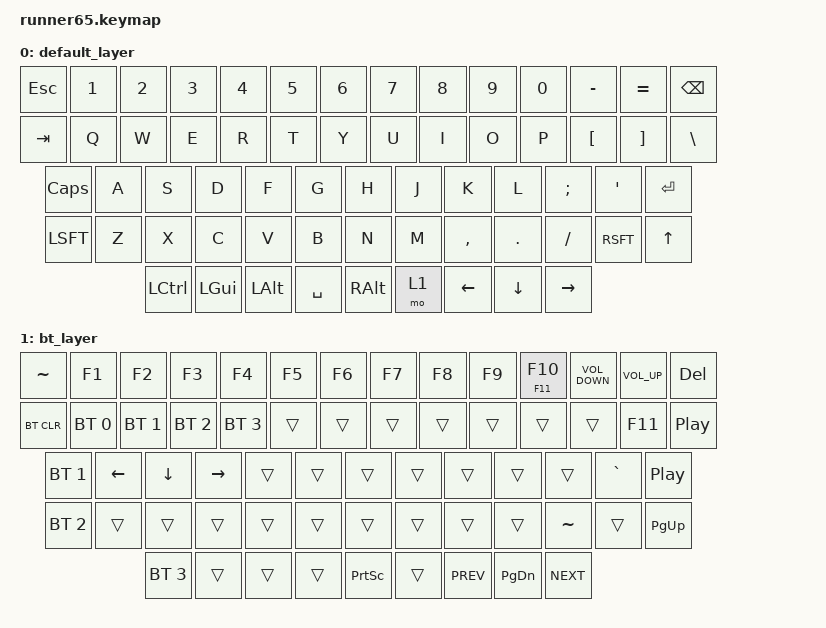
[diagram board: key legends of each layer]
/*
 * Copyright (c) 2021 Nick Winans
 *
 * SPDX-License-Identifier: MIT
 */

#include <behaviors.dtsi>
#include <dt-bindings/zmk/keys.h>
#include <dt-bindings/zmk/rgb.h>
#include <dt-bindings/zmk/bt.h>

/ {
	keymap {
		compatible = "zmk,keymap";
		
		default_layer {
// -------------------------------------------------------------------------------------------------
// | ESC |  1  |  2  |  3  |  4  |  5  |  6  |  7  |  8  |  9  |  0  |  -  |  =  |   BKSP    |      |
// | TAB  |  Q  |  W  |  E  |  R  |  T  |  Y  |  U  |  I  |  O  |  P  |  [  |  ]  |    \     |      |
// | CAPS  |  A  |  S  |  D  |  F  |  G  |  H  |  J  |  K  |  L  |  ;  |  '  |     ENTER     |      |
// |  SHIFT  |  Z  |  X  |  C  |  V  |  B  |  N  |  M  |  ,  |  .  |  /  |    SHIFT   |  UP  |      |
// |  CTL  |  WIN  |  ALT  |  SPACE                       | ALT | MO(1) | CTRL | LEFT | DOWN | RIGHT|
// -------------------------------------------------------------------------------------------------
			bindings = <
	&kp ESC &kp NUM_1 &kp NUM_2 &kp NUM_3 &kp NUM_4 &kp NUM_5 &kp NUM_6 &kp NUM_7 &kp NUM_8 &kp NUM_9 &kp NUM_0 &kp MINUS &kp EQL  &kp BKSP
	&kp TAB  &kp   Q   &kp   W   &kp   E   &kp   R   &kp   T   &kp   Y   &kp   U   &kp   I   &kp   O   &kp   P   &kp LBKT &kp RBKT &kp BSLH
	&kp CLCK  &kp   A   &kp   S   &kp   D   &kp   F   &kp   G   &kp   H   &kp   J   &kp   K   &kp   L   &kp  SCLN  &kp  QUOT        &kp RET
	&kp LSFT  &kp   Z   &kp   X   &kp   C   &kp   V   &kp   B   &kp   N   &kp   M   &kp  CMMA &kp  DOT  &kp FSLH      &kp RSFT &kp UP 
	&kp LCTL &kp  LGUI  &kp   LALT                                &kp SPC        &kp  RALT  &mo 1 &kp LEFT &kp DOWN &kp RIGHT 
			>;
		};

		bt_layer {

			bindings = <
	&kp TILDE   &kp F1       &kp F2       &kp F3        &kp F4           &kp F5          &kp F6          &kp F7          &kp F8   &kp F9   &mt F11 F10 &kp C_VOLUME_DOWN &kp C_VOLUME_UP  &kp DEL
	&bt BT_CLR   &bt BT_SEL 0 &bt BT_SEL 1 &bt BT_SEL 2  &bt BT_SEL 3   &trans   &trans   &trans   &trans   &trans   &trans   &trans &kp F11  &kp C_PP
	&bt BT_SEL 1   &kp LEFT  &kp DOWN  &kp RIGHT &trans &trans  &trans  &trans  &trans   &trans   &trans   &kp GRAVE    &kp C_PP 
	&bt BT_SEL 2   &trans    &trans    &trans    &trans &trans  &trans  &trans  &trans   &trans   &kp TILDE   &trans    &kp PG_UP
	&bt BT_SEL 3   &trans   &trans                            &trans                                     &kp PSCRN      &trans      &kp C_PREV   &kp PAGE_DOWN  &kp C_NEXT
			>;
		};
	};
};
